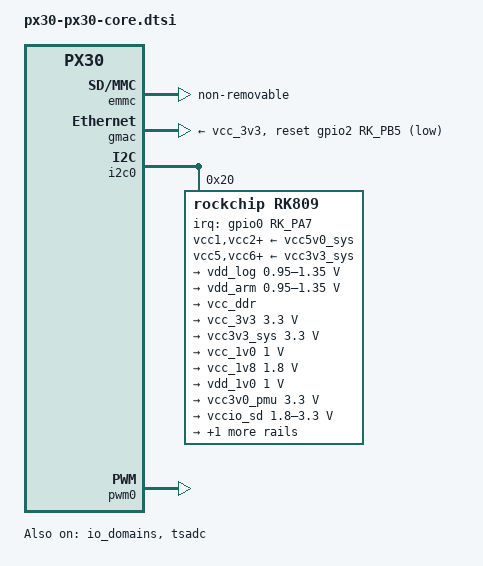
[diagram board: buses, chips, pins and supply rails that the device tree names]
// SPDX-License-Identifier: (GPL-2.0+ OR MIT)
/*
 * Copyright (c) 2020 Fuzhou Rockchip Electronics Co., Ltd
 * Copyright (c) 2020 Engicam srl
 * Copyright (c) 2020 Amarula Solutions(India)
 */

#include <dt-bindings/gpio/gpio.h>
#include <dt-bindings/pinctrl/rockchip.h>

/ {
	compatible = "engicam,px30-px30-core", "rockchip,px30";
};

&cpu0 {
	cpu-supply = <&vdd_arm>;
};

&cpu1 {
	cpu-supply = <&vdd_arm>;
};

&cpu2 {
	cpu-supply = <&vdd_arm>;
};

&cpu3 {
	cpu-supply = <&vdd_arm>;
};

&emmc {
	cap-mmc-highspeed;
	mmc-hs200-1_8v;
	non-removable;
	status = "okay";
};

&gmac {
	clock_in_out = "output";
	phy-supply = <&vcc_3v3>;	/* +3V3_SOM */
	snps,reset-active-low;
	snps,reset-delays-us = <0 50000 50000>;
	snps,reset-gpio = <&gpio2 RK_PB5 GPIO_ACTIVE_HIGH>;
};

&i2c0 {
	status = "okay";

	rk809: pmic@20 {
		compatible = "rockchip,rk809";
		reg = <0x20>;
		interrupt-parent = <&gpio0>;
		interrupts = <RK_PA7 IRQ_TYPE_LEVEL_LOW>;
		pinctrl-names = "default";
		pinctrl-0 = <&pmic_int>;
		rockchip,system-power-controller;
		wakeup-source;
		#clock-cells = <1>;
		clock-output-names = "rk808-clkout1", "rk808-clkout2";

		vcc1-supply = <&vcc5v0_sys>;
		vcc2-supply = <&vcc5v0_sys>;
		vcc3-supply = <&vcc5v0_sys>;
		vcc4-supply = <&vcc5v0_sys>;
		vcc5-supply = <&vcc3v3_sys>;
		vcc6-supply = <&vcc3v3_sys>;
		vcc7-supply = <&vcc3v3_sys>;
		vcc8-supply = <&vcc3v3_sys>;
		vcc9-supply = <&vcc5v0_sys>;

		regulators {
			vdd_log: DCDC_REG1 {
				regulator-always-on;
				regulator-boot-on;
				regulator-max-microvolt = <1350000>;
				regulator-min-microvolt = <950000>;
				regulator-name = "vdd_log";
				regulator-ramp-delay = <6001>;

				regulator-state-mem {
					regulator-on-in-suspend;
					regulator-suspend-microvolt = <950000>;
				};
			};

			vdd_arm: DCDC_REG2 {
				regulator-max-microvolt = <1350000>;
				regulator-min-microvolt = <950000>;
				regulator-name = "vdd_arm";
				regulator-ramp-delay = <6001>;
				regulator-always-on;
				regulator-boot-on;

				regulator-state-mem {
					regulator-off-in-suspend;
					regulator-suspend-microvolt = <950000>;
				};
			};

			vcc_ddr: DCDC_REG3 {
				regulator-always-on;
				regulator-boot-on;
				regulator-name = "vcc_ddr";

				regulator-state-mem {
					regulator-on-in-suspend;
				};
			};

			vcc_3v3: DCDC_REG4 {
				regulator-always-on;
				regulator-boot-on;
				regulator-max-microvolt = <3300000>;
				regulator-min-microvolt = <3300000>;
				regulator-name = "vcc_3v3";

				regulator-state-mem {
					regulator-on-in-suspend;
					regulator-suspend-microvolt = <3300000>;
				};
			};

			vcc3v3_sys: DCDC_REG5 {
				regulator-always-on;
				regulator-boot-on;
				regulator-min-microvolt = <3300000>;
				regulator-max-microvolt = <3300000>;
				regulator-name = "vcc3v3_sys";

				regulator-state-mem {
					regulator-on-in-suspend;
					regulator-suspend-microvolt = <3300000>;
				};
			};

			vcc_1v0: LDO_REG1 {
				regulator-always-on;
				regulator-boot-on;
				regulator-min-microvolt = <1000000>;
				regulator-max-microvolt = <1000000>;
				regulator-name = "vcc_1v0";

				regulator-state-mem {
					regulator-on-in-suspend;
					regulator-suspend-microvolt = <1000000>;
				};
			};

			vcc_1v8: LDO_REG2 {
				regulator-always-on;
				regulator-boot-on;
				regulator-min-microvolt = <1800000>;
				regulator-max-microvolt = <1800000>;
				regulator-name = "vcc_1v8";

				regulator-state-mem {
					regulator-on-in-suspend;
					regulator-suspend-microvolt = <1800000>;
				};
			};

			vdd_1v0: LDO_REG3 {
				regulator-always-on;
				regulator-boot-on;
				regulator-min-microvolt = <1000000>;
				regulator-max-microvolt = <1000000>;
				regulator-name = "vdd_1v0";

				regulator-state-mem {
					regulator-on-in-suspend;
					regulator-suspend-microvolt = <1000000>;
				};
			};

			vcc3v0_pmu: LDO_REG4 {
				regulator-always-on;
				regulator-boot-on;
				regulator-min-microvolt = <3300000>;
				regulator-max-microvolt = <3300000>;
				regulator-name = "vcc3v0_pmu";

				regulator-state-mem {
					regulator-on-in-suspend;
					regulator-suspend-microvolt = <3300000>;

				};
			};

			vccio_sd: LDO_REG5 {
				regulator-always-on;
				regulator-boot-on;
				regulator-min-microvolt = <1800000>;
				regulator-max-microvolt = <3300000>;
				regulator-name = "vccio_sd";

				regulator-state-mem {
					regulator-on-in-suspend;
					regulator-suspend-microvolt = <3300000>;
				};
			};

			vcc5v0_host: SWITCH_REG2 {
				regulator-always-on;
				regulator-boot-on;
				regulator-name = "vcc5v0_host";
			};
		};
	};
};

&io_domains {
	vccio1-supply = <&vcc_3v3>;
	vccio2-supply = <&vcc_3v3>;
	vccio3-supply = <&vcc_3v3>;
	vccio4-supply = <&vcc_3v3>;
	vccio5-supply = <&vcc_3v3>;
	vccio6-supply = <&vcc_1v8>;
	status = "okay";
};

&pinctrl {
	pmic {
		pmic_int: pmic_int {
			rockchip,pins = <0 RK_PA7 RK_FUNC_GPIO &pcfg_pull_up>;
		};
	};
};

&pmu_io_domains {
	pmuio1-supply = <&vcc_3v3>;
	pmuio2-supply = <&vcc_3v3>;
	status = "okay";
};

&pwm0 {
	status = "okay";
};

&sdmmc {
	cap-mmc-highspeed;
	cap-sd-highspeed;
	card-detect-delay = <800>;
	vqmmc-supply = <&vcc_3v3>;
};

&tsadc {
	rockchip,hw-tshut-mode = <1>;
	rockchip,hw-tshut-polarity = <1>;
	status = "okay";
};
